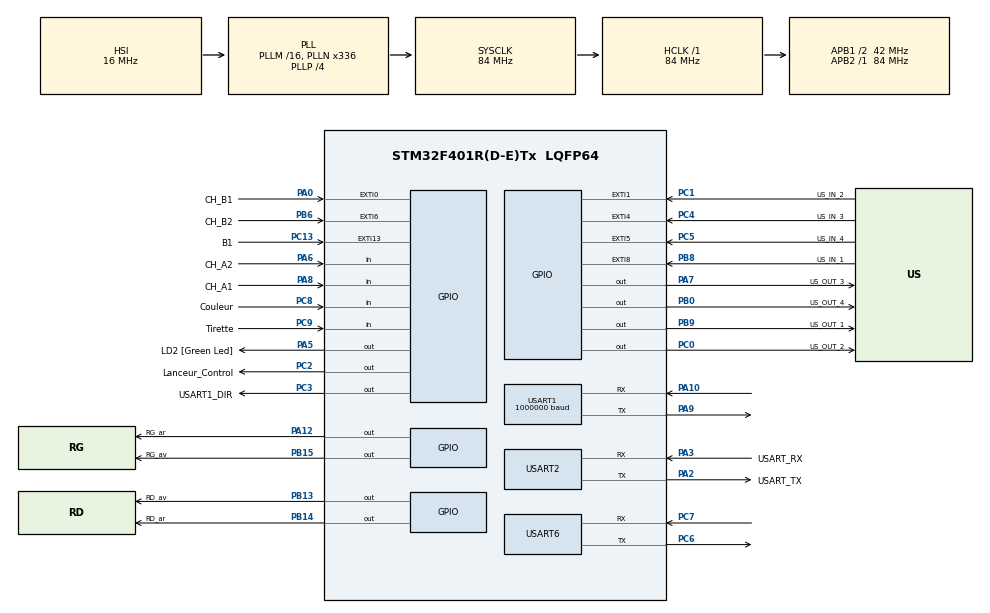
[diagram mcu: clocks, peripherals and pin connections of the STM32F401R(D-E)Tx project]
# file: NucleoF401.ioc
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Mcu.Family=STM32F4
Mcu.Name=STM32F401R(D-E)Tx
Mcu.Package=LQFP64
NVIC.EXTI15_10_IRQn=true\:0\:0\:false\:false\:true\:true
NVIC.EXTI1_IRQn=true\:0\:0\:false\:false\:true\:true
NVIC.EXTI4_IRQn=true\:0\:0\:false\:false\:true\:true
NVIC.EXTI9_5_IRQn=true\:0\:0\:false\:false\:true\:true
NVIC.PriorityGroup=NVIC_PRIORITYGROUP_0
NVIC.TIM1_BRK_TIM9_IRQn=true\:0\:0\:false\:false\:true\:true
NVIC.TIM1_CC_IRQn=true\:0\:0\:false\:false\:true\:true
NVIC.TIM1_UP_TIM10_IRQn=true\:0\:0\:false\:false\:true\:true
NVIC.TIM2_IRQn=true\:0\:0\:false\:false\:true\:true
NVIC.TIM3_IRQn=true\:0\:0\:false\:false\:true\:true
PA0-WKUP.GPIO_Label=CH_B1
PA0-WKUP.GPIO_ModeDefaultEXTI=GPIO_MODE_IT_RISING_FALLING
PA0-WKUP.Signal=GPXTI0
PA10.Mode=Asynchronous
PA10.Signal=USART1_RX
PA12.GPIO_Label=RG_ar
PA12.Signal=GPIO_Output
PA13.GPIO_Label=TMS
PA13.Signal=SYS_JTMS-SWDIO
PA14.GPIO_Label=TCK
PA14.Signal=SYS_JTCK-SWCLK
PA2.GPIO_Label=USART_TX
PA2.GPIO_Mode=GPIO_MODE_AF_PP
PA2.GPIO_PuPd=GPIO_NOPULL
PA2.GPIO_Speed=GPIO_SPEED_FREQ_LOW
PA2.Mode=Asynchronous
PA2.Signal=USART2_TX
PA3.GPIO_Label=USART_RX
PA3.GPIO_Mode=GPIO_MODE_AF_PP
PA3.GPIO_PuPd=GPIO_NOPULL
PA3.GPIO_Speed=GPIO_SPEED_FREQ_LOW
PA3.Mode=Asynchronous
PA3.Signal=USART2_RX
PA5.GPIO_Label=LD2 [Green Led]
PA5.GPIO_Mode=GPIO_MODE_OUTPUT_PP
PA5.GPIO_PuPd=GPIO_NOPULL
PA5.GPIO_Speed=GPIO_SPEED_FREQ_LOW
PA5.Signal=GPIO_Output
PA6.GPIO_Label=CH_A2
PA6.Signal=GPIO_Input
PA7.GPIO_Label=US_OUT_3
PA7.GPIO_PuPd=GPIO_PULLDOWN
PA7.Signal=GPIO_Output
PA8.GPIO_Label=CH_A1
PA8.Signal=GPIO_Input
PA9.Mode=Asynchronous
PA9.Signal=USART1_TX
PB0.GPIO_Label=US_OUT_4
PB0.GPIO_PuPd=GPIO_PULLDOWN
PB0.Signal=GPIO_Output
PB13.GPIO_Label=RD_av
PB13.Signal=GPIO_Output
PB14.GPIO_Label=RD_ar
PB14.Signal=GPIO_Output
PB15.GPIO_Label=RG_av
PB15.Signal=GPIO_Output
PB3.GPIO_Label=SWO
PB3.Signal=SYS_JTDO-SWO
PB6.GPIO_Label=CH_B2
PB6.GPIO_ModeDefaultEXTI=GPIO_MODE_IT_RISING_FALLING
PB6.Signal=GPXTI6
PB8.GPIO_Label=US_IN_1
PB8.GPIO_ModeDefaultEXTI=GPIO_MODE_IT_RISING_FALLING
PB8.GPIO_PuPd=GPIO_PULLDOWN
PB8.Signal=GPXTI8
PB9.GPIO_Label=US_OUT_1
PB9.GPIO_PuPd=GPIO_PULLDOWN
PB9.Signal=GPIO_Output
PC0.GPIO_Label=US_OUT_2
PC0.GPIO_PuPd=GPIO_PULLDOWN
PC0.Signal=GPIO_Output
PC1.GPIO_Label=US_IN_2
PC1.GPIO_ModeDefaultEXTI=GPIO_MODE_IT_RISING_FALLING
PC1.GPIO_PuPd=GPIO_PULLDOWN
PC1.Signal=GPXTI1
PC13-ANTI_TAMP.GPIO_Label=B1
PC13-ANTI_TAMP.GPIO_ModeDefaultEXTI=GPIO_MODE_IT_FALLING
PC13-ANTI_TAMP.GPIO_PuPd=GPIO_NOPULL
PC13-ANTI_TAMP.Signal=GPXTI13
PC14-OSC32_IN.Signal=RCC_OSC32_IN
PC15-OSC32_OUT.Signal=RCC_OSC32_OUT
PC2.GPIO_Label=Lanceur_Control
PC2.Signal=GPIO_Output
PC3.GPIO_Label=USART1_DIR
PC3.Signal=GPIO_Output
PC4.GPIO_Label=US_IN_3
PC4.GPIO_ModeDefaultEXTI=GPIO_MODE_IT_RISING_FALLING
PC4.GPIO_PuPd=GPIO_PULLDOWN
PC4.Signal=GPXTI4
PC5.GPIO_Label=US_IN_4
PC5.GPIO_ModeDefaultEXTI=GPIO_MODE_IT_RISING_FALLING
PC5.GPIO_PuPd=GPIO_PULLDOWN
PC5.Signal=GPXTI5
PC6.Mode=Asynchronous
PC6.Signal=USART6_TX
PC7.Mode=Asynchronous
PC7.Signal=USART6_RX
PC8.GPIO_Label=Couleur
PC8.GPIO_PuPd=GPIO_PULLDOWN
PC8.Signal=GPIO_Input
PC9.GPIO_Label=Tirette
PC9.GPIO_PuPd=GPIO_PULLDOWN
PC9.Signal=GPIO_Input
PH0\ -\ OSC_IN.Signal=RCC_OSC_IN
PH1\ -\ OSC_OUT.Signal=RCC_OSC_OUT
ProjectManager.HeapSize=0x200
ProjectManager.StackSize=0x400
ProjectManager.TargetToolchain=Makefile
RCC.AHBFreq_Value=84000000
RCC.APB1CLKDivider=RCC_HCLK_DIV2
RCC.APB1Freq_Value=42000000
RCC.APB1TimFreq_Value=84000000
RCC.APB2Freq_Value=84000000
RCC.APB2TimFreq_Value=84000000
RCC.CortexFreq_Value=84000000
RCC.HCLKFreq_Value=84000000
RCC.HSE_VALUE=8000000
RCC.HSI_VALUE=16000000
RCC.LSE_VALUE=32768
RCC.PLLN=336
RCC.PLLP=RCC_PLLP_DIV4
RCC.PLLQ=7
RCC.SYSCLKFreq_VALUE=84000000
RCC.SYSCLKSource=RCC_SYSCLKSOURCE_PLLCLK
RCC.VCOOutputFreq_Value=336000000
TIM1.Channel-PWM\ Generation1\ No\ Output=TIM_CHANNEL_1
TIM1.Period=255-1
TIM1.Prescaler=1250-1
TIM10.Period=8-1
TIM10.Prescaler=1000-1
TIM2.Channel-PWM\ Generation1\ No\ Output=TIM_CHANNEL_1
TIM2.Period=255-1
TIM2.Prescaler=1250-1
TIM3.Period=13440-1
TIM3.Prescaler=50000-1
TIM9.Channel-PWM\ Generation1\ No\ Output=TIM_CHANNEL_1
TIM9.OCFastMode_PWM-PWM\ Generation1\ No\ Output=TIM_OCFAST_ENABLE
TIM9.Period=2500-1
TIM9.Prescaler=3360-1
TIM9.Pulse-PWM\ Generation1\ No\ Output=2000
USART1.BaudRate=1000000
USART1.VirtualMode=VM_ASYNC
USART2.VirtualMode=VM_ASYNC
USART6.VirtualMode=VM_ASYNC
VP_TIM10_VS_ClockSourceINT.Mode=Enable_Timer
VP_TIM1_VS_ClockSourceINT.Mode=Internal
VP_TIM1_VS_no_output1.Mode=PWM Generation1 No Output
VP_TIM2_VS_ClockSourceINT.Mode=Internal
VP_TIM2_VS_no_output1.Mode=PWM Generation1 No Output
VP_TIM3_VS_ClockSourceINT.Mode=Internal
VP_TIM9_VS_ClockSourceINT.Mode=Internal
VP_TIM9_VS_no_output1.Mode=PWM Generation1 No Output
board=NUCLEO-F401RE

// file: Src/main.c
/**
  ******************************************************************************
  * @file           : main.c
  * @brief          : Main program body
  ******************************************************************************
  ** This notice applies to any and all portions of this file
  * that are not between comment pairs USER CODE BEGIN and
  * USER CODE END. Other portions of this file, whether
  * inserted by the user or by software development tools
  * are owned by their respective copyright owners.
  *
  * COPYRIGHT(c) 2018 STMicroelectronics
  *
  * Redistribution and use in source and binary forms, with or without modification,
  * are permitted provided that the following conditions are met:
  *   1. Redistributions of source code must retain the above copyright notice,
  *      this list of conditions and the following disclaimer.
  *   2. Redistributions in binary form must reproduce the above copyright notice,
  *      this list of conditions and the following disclaimer in the documentation
  *      and/or other materials provided with the distribution.
  *   3. Neither the name of STMicroelectronics nor the names of its contributors
  *      may be used to endorse or promote products derived from this software
  *      without specific prior written permission.
  *
  * THIS SOFTWARE IS PROVIDED BY THE COPYRIGHT HOLDERS AND CONTRIBUTORS "AS IS"
  * AND ANY EXPRESS OR IMPLIED WARRANTIES, INCLUDING, BUT NOT LIMITED TO, THE
  * IMPLIED WARRANTIES OF MERCHANTABILITY AND FITNESS FOR A PARTICULAR PURPOSE ARE
  * DISCLAIMED. IN NO EVENT SHALL THE COPYRIGHT HOLDER OR CONTRIBUTORS BE LIABLE
  * FOR ANY DIRECT, INDIRECT, INCIDENTAL, SPECIAL, EXEMPLARY, OR CONSEQUENTIAL
  * DAMAGES (INCLUDING, BUT NOT LIMITED TO, PROCUREMENT OF SUBSTITUTE GOODS OR
  * SERVICES; LOSS OF USE, DATA, OR PROFITS; OR BUSINESS INTERRUPTION) HOWEVER
  * CAUSED AND ON ANY THEORY OF LIABILITY, WHETHER IN CONTRACT, STRICT LIABILITY,
  * OR TORT (INCLUDING NEGLIGENCE OR OTHERWISE) ARISING IN ANY WAY OUT OF THE USE
  * OF THIS SOFTWARE, EVEN IF ADVISED OF THE POSSIBILITY OF SUCH DAMAGE.
  *
  ******************************************************************************
  */
#include "main.h"
#include "stm32f4xx_hal.h"
#include "tim.h"
#include "usart.h"
#include "gpio.h"

/* USER CODE BEGIN Includes */
#include "ultrason.h"
#include "machineEtat.h"
#include "deplacement.h"
#include "lancer.h"
#include "xl_320.h"
#include "servo.h"
#include "triage.h"

//#include "interpol.h"
/* USER CODE END Includes */

/* USER CODE BEGIN PV */
/* Private variables ---------------------------------------------------------*/

/* USER CODE END PV */

void SystemClock_Config(void);

/* USER CODE BEGIN PFP */
/* Private function prototypes -----------------------------------------------*/

/* USER CODE END PFP */

int main(void)
{

  /* MCU Configuration----------------------------------------------------------*/

  /* Reset of all peripherals, Initializes the Flash interface and the Systick. */
  HAL_Init();

  /* Configure the system clock */
  SystemClock_Config();

  /* Initialize all configured peripherals */
  MX_GPIO_Init();
  MX_USART1_UART_Init();
  MX_USART2_UART_Init();
  MX_USART6_UART_Init();
  MX_TIM9_Init();
  MX_TIM1_Init();
  MX_TIM2_Init();
  MX_TIM10_Init();
  MX_TIM3_Init();
  /* USER CODE BEGIN 2 */

  __disable_irq();
  extern MachineEtat machineEtat;
  while (HAL_GPIO_ReadPin(Tirette_GPIO_Port, Tirette_Pin)){
  }
  HAL_TIM_Base_Start_IT(&htim3);
  HAL_TIM_Base_Start_IT(&htim9);
  HAL_TIM_PWM_Start_IT(&htim9, TIM_CHANNEL_1);
  HAL_TIM_Base_Start_IT(&htim1);
  HAL_TIM_PWM_Start_IT(&htim1, TIM_CHANNEL_1);
  HAL_TIM_Base_Start_IT(&htim2);
  HAL_TIM_PWM_Start_IT(&htim2, TIM_CHANNEL_1);
  HAL_TIM_Base_Start_IT(&htim10);
  __enable_irq();

  InitialisationParametresGlobaux(&machineEtat);
  InitialiserCapteur(&(machineEtat.deplacement.detectionCapteur), US_IN_1_GPIO_Port, US_IN_1_Pin, US_IN_2_GPIO_Port, US_IN_2_Pin, US_IN_3_GPIO_Port, US_IN_3_Pin, US_IN_4_GPIO_Port, US_IN_4_Pin);
  init_odometry(&(machineEtat.deplacement.odometrie), &htim10);
  /************************************/
  /* Debut Initialisation servomoteur */
  /************************************/

  XL320InterfaceDefine(&(machineEtat.triage.servosGlobal.interface));

  uint16_t nbServos; //number of detected servos
  uint8_t nbmaxServosWanted = 3; //number max of servos controle
  XL320ServosActivation(&(machineEtat.triage.servosGlobal.interface), (machineEtat.triage.servosGlobal.servo), nbmaxServosWanted, &nbServos);
  InitialisationServo(&machineEtat);
  /**********************************/
  /* Fin Initialisation servomoteur */
  /**********************************/
  //ActivationMoteur();
  //Initialisation(&machineEtat, RG_av_GPIO_Port, RG_av_Pin, RG_ar_GPIO_Port, RG_ar_Pin, RD_av_GPIO_Port, RD_av_Pin, RD_ar_GPIO_Port, RD_ar_Pin);

  /* USER CODE END 2 */

  /* Infinite loop */
  while (1)
  {

  /* USER CODE BEGIN 3 */
  TransitionEtats(&machineEtat);

  //Tri(&machineEtat, USART_RX_GPIO_Port, USART_RX_Pin);
  }
  /* USER CODE END 3 */

}

void SystemClock_Config(void)
{

  RCC_OscInitTypeDef RCC_OscInitStruct;
  RCC_ClkInitTypeDef RCC_ClkInitStruct;

    /**Configure the main internal regulator output voltage
    */
  __HAL_RCC_PWR_CLK_ENABLE();

  __HAL_PWR_VOLTAGESCALING_CONFIG(PWR_REGULATOR_VOLTAGE_SCALE2);

    /**Initializes the CPU, AHB and APB busses clocks
    */
  RCC_OscInitStruct.OscillatorType = RCC_OSCILLATORTYPE_HSI;
  RCC_OscInitStruct.HSIState = RCC_HSI_ON;
  RCC_OscInitStruct.HSICalibrationValue = 16;
  RCC_OscInitStruct.PLL.PLLState = RCC_PLL_ON;
  RCC_OscInitStruct.PLL.PLLSource = RCC_PLLSOURCE_HSI;
  RCC_OscInitStruct.PLL.PLLM = 16;
  RCC_OscInitStruct.PLL.PLLN = 336;
  RCC_OscInitStruct.PLL.PLLP = RCC_PLLP_DIV4;
  RCC_OscInitStruct.PLL.PLLQ = 7;
  if (HAL_RCC_OscConfig(&RCC_OscInitStruct) != HAL_OK)
  {
    _Error_Handler(__FILE__, __LINE__);
  }

    /**Initializes the CPU, AHB and APB busses clocks
    */
  RCC_ClkInitStruct.ClockType = RCC_CLOCKTYPE_HCLK|RCC_CLOCKTYPE_SYSCLK
                              |RCC_CLOCKTYPE_PCLK1|RCC_CLOCKTYPE_PCLK2;
  RCC_ClkInitStruct.SYSCLKSource = RCC_SYSCLKSOURCE_PLLCLK;
  RCC_ClkInitStruct.AHBCLKDivider = RCC_SYSCLK_DIV1;
  RCC_ClkInitStruct.APB1CLKDivider = RCC_HCLK_DIV2;
  RCC_ClkInitStruct.APB2CLKDivider = RCC_HCLK_DIV1;

  if (HAL_RCC_ClockConfig(&RCC_ClkInitStruct, FLASH_LATENCY_2) != HAL_OK)
  {
    _Error_Handler(__FILE__, __LINE__);
  }

    /**Configure the Systick interrupt time
    */
  HAL_SYSTICK_Config(HAL_RCC_GetHCLKFreq()/1000);

    /**Configure the Systick
    */
  HAL_SYSTICK_CLKSourceConfig(SYSTICK_CLKSOURCE_HCLK);

  /* SysTick_IRQn interrupt configuration */
  HAL_NVIC_SetPriority(SysTick_IRQn, 0, 0);
}

void _Error_Handler(char *file, int line)
{
  while(1)
  {
  }
}

/************************ (C) COPYRIGHT STMicroelectronics *****END OF FILE****/
